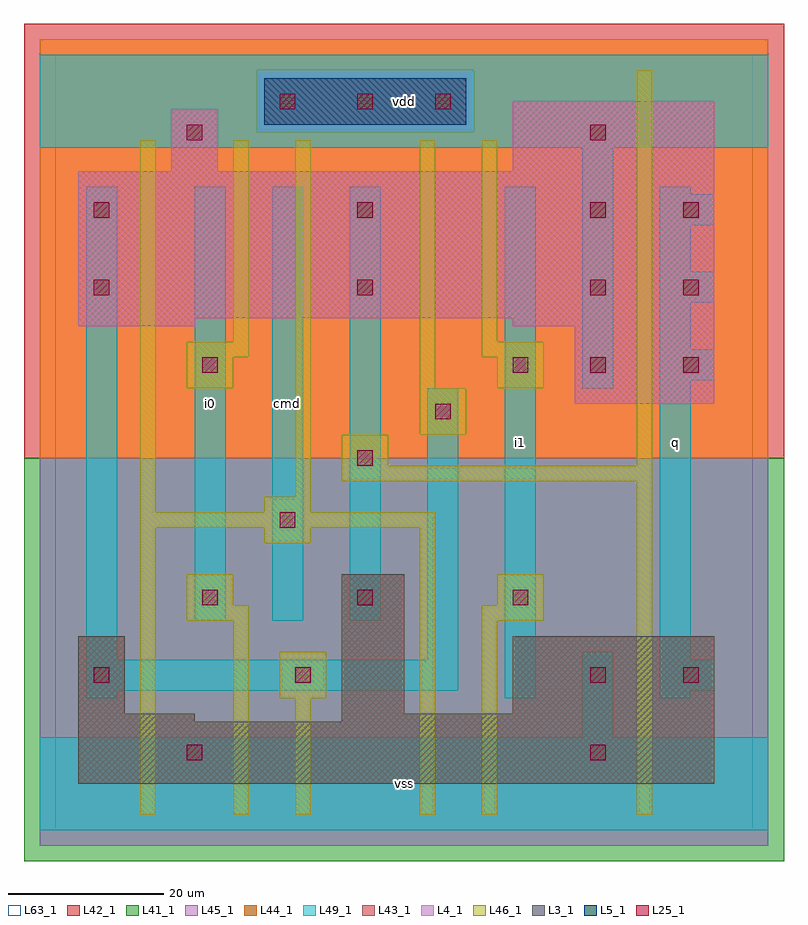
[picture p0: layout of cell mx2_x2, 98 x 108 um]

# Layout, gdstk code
import gdstk
lib = gdstk.Library(unit=1e-6, precision=1e-09)
def R(c, l, rs):  # rectangles x0, y0, x1, y1
    for r in rs: c.add(gdstk.rectangle(r[:2], r[2:], *l))
def A(c, l, x, y, w, h, nx, ny, dx, dy):  # array of equal rectangles
    R(c, l, [(x+i*dx, y+j*dy, x+i*dx+w, y+j*dy+h) for i in range(nx) for j in range(ny)])
L3_1 = (3, 1)
L4_1 = (4, 1)
L5_1 = (5, 1)
L25_1 = (25, 1)
L41_1 = (41, 1)
L42_1 = (42, 1)
L43_1 = (43, 1)
L44_1 = (44, 1)
L45_1 = (45, 1)
L46_1 = (46, 1)
L49_1 = (49, 1)
L63_1 = (63, 1)

mx2_x2 = lib.new_cell('mx2_x2')
R(mx2_x2, L3_1, [(3,6,85,14), (3,14,18,15), (37,14,85,15), (3,15,9,25), (37,15,45,33), (59,15,85,25)])
R(mx2_x2, L4_1, [(67,55,85,65), (3,65,18,66), (59,65,85,66), (3,66,85,85), (15,85,21,93), (59,85,85,94)])
R(mx2_x2, L5_1, [(27,91,53,97)])
A(mx2_x2, L25_1, 19, 29, 2, 2, 3, 1, 20, 0)
A(mx2_x2, L25_1, 69, 59, 2, 2, 1, 4, 0, 10)
A(mx2_x2, L25_1, 81, 59, 2, 2, 1, 3, 0, 10)
A(mx2_x2, L25_1, 29, 93, 2, 2, 3, 1, 10, 0)
R(mx2_x2, L25_1, [(17,9,19,11), (69,9,71,11), (5,19,7,21), (31,19,33,21), (69,19,71,21), (81,19,83,21), (29,39,31,41), (39,47,41,49), (49,53,51,55), (19,59,21,61), (59,59,61,61), (5,69,7,71), (39,69,41,71), (5,79,7,81), (39,79,41,81), (17,89,19,91)])
R(mx2_x2, L41_1, [(-4,-4,94,48)])
R(mx2_x2, L42_1, [(-4,48,94,104)])
R(mx2_x2, L43_1, [(3,6,85,14), (3,14,18,15), (37,14,85,15), (3,15,9,25), (37,15,45,33), (59,15,85,25), (67,55,85,65), (3,65,18,66), (59,65,85,66), (3,66,85,85), (15,85,21,93), (59,85,85,94), (27,91,53,97)])
R(mx2_x2, L44_1, [(-2,48,92,90), (-2,90,26,98), (54,90,92,98), (-2,98,92,102)])
R(mx2_x2, L45_1, [(-2,-2,92,48), (26,90,54,98)])
R(mx2_x2, L46_1, [(11,2,13,39), (23,2,25,27), (31,2,33,17), (47,2,49,39), (55,2,57,27), (75,2,77,45), (29,17,35,23), (17,27,25,29), (55,27,63,29), (17,29,23,33), (57,29,63,33), (27,37,33,39), (11,39,49,41), (11,41,13,89), (27,41,33,43), (31,43,33,89), (37,45,77,47), (37,47,43,51), (75,47,77,98), (47,51,53,57), (17,57,23,61), (47,57,49,89), (57,57,63,61), (17,61,25,63), (55,61,63,63), (23,63,25,89), (55,63,57,89)])
A(mx2_x2, L49_1, 18, 27, 4, 56, 3, 1, 10, 0)
A(mx2_x2, L49_1, 78, 58, 7, 4, 1, 3, 0, 10)
R(mx2_x2, L49_1, [(-2,0,92,12), (68,12,72,23), (4,17,8,18), (58,17,62,83), (78,17,82,18), (4,18,52,22), (78,18,85,22), (4,22,8,83), (48,22,52,57), (78,22,82,58), (68,57,72,88), (78,62,82,68), (78,72,82,78), (78,82,82,83), (-2,88,92,100)])
R(mx2_x2, L63_1, [(0,0,90,100)])
mx2_x2.add(gdstk.Label('i0', (20,55), layer=49, texttype=1))
mx2_x2.add(gdstk.Label('cmd', (30,55), layer=49, texttype=1))
mx2_x2.add(gdstk.Label('vss', (45,6), layer=49, texttype=1))
mx2_x2.add(gdstk.Label('i1', (60,50), layer=49, texttype=1))
mx2_x2.add(gdstk.Label('vdd', (45,94), layer=49, texttype=1))
mx2_x2.add(gdstk.Label('q', (80,50), layer=49, texttype=1))

lib.write_gds('mx2_x2.gds')
